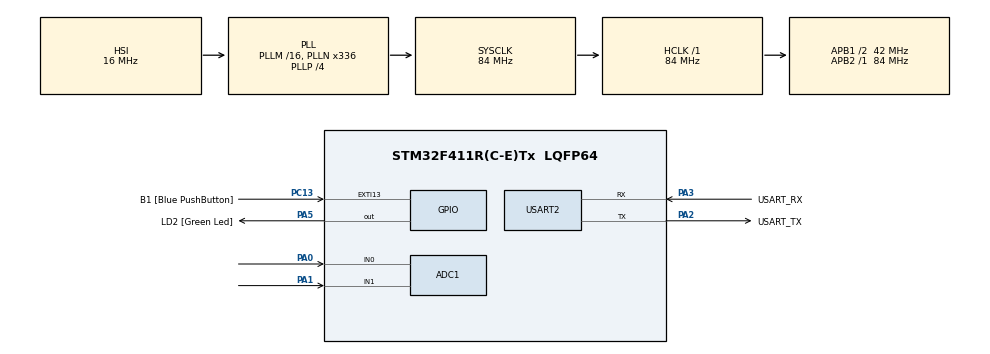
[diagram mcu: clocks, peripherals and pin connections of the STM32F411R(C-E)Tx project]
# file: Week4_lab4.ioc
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Mcu.Family=STM32F4
RCC.CortexFreq_Value=84000000
VP_ADC1_TempSens_Input.Mode=IN-TempSens
ADC1.ContinuousConvMode=ENABLE
PA14.GPIO_Label=TCK
RCC.SYSCLKSource=RCC_SYSCLKSOURCE_PLLCLK
ProjectManager.StackSize=0x400
PH0\ -\ OSC_IN.Signal=RCC_OSC_IN
ADC1.Channel-3\#ChannelRegularConversion=ADC_CHANNEL_VREFINT
RCC.HCLKFreq_Value=84000000
RCC.APB2TimFreq_Value=84000000
Dma.ADC1.0.Direction=DMA_PERIPH_TO_MEMORY
ADC1.Channel-2\#ChannelRegularConversion=ADC_CHANNEL_TEMPSENSOR
ADC1.InjNumberOfConversion=0
NVIC.DMA2_Stream0_IRQn=true\:0\:0\:false\:false\:true\:false\:true
Dma.ADC1.0.MemDataAlignment=DMA_MDATAALIGN_WORD
RCC.AHBFreq_Value=84000000
NVIC.EXTI15_10_IRQn=true\:0\:0\:false\:false\:true\:true\:true
ADC1.Channel-0\#ChannelRegularConversion=ADC_CHANNEL_0
RCC.HSE_VALUE=8000000
ADC1.ScanConvMode=ENABLE
PC13-ANTI_TAMP.Signal=GPXTI13
VP_ADC1_Vref_Input.Mode=IN-Vrefint
ADC1.Rank-2\#ChannelRegularConversion=3
PC14-OSC32_IN.Mode=LSE-External-Oscillator
PA14.Mode=Serial_Wire
Dma.ADC1.0.PeriphInc=DMA_PINC_DISABLE
SH.ADCx_IN0.0=ADC1_IN0,IN0
ADC1.SamplingTime-0\#ChannelRegularConversion=ADC_SAMPLETIME_480CYCLES
RCC.FLatency-AdvancedSettings=FLASH_LATENCY_2
Mcu.Package=LQFP64
USART2.VirtualMode=VM_ASYNC
PA2.GPIO_Label=USART_TX
SH.ADCx_IN1.0=ADC1_IN1,IN1
RCC.APB1TimFreq_Value=84000000
Dma.ADC1.0.FIFOMode=DMA_FIFOMODE_DISABLE
Dma.Request0=ADC1
PA3.Signal=USART2_RX
PB3.GPIO_Label=SWO
PC15-OSC32_OUT.Mode=LSE-External-Oscillator
Dma.ADC1.0.Instance=DMA2_Stream0
ADC1.Rank-0\#ChannelRegularConversion=1
PC13-ANTI_TAMP.GPIO_PuPd=GPIO_PULLUP
PC13-ANTI_TAMP.GPIO_Label=B1 [Blue PushButton]
PH1\ -\ OSC_OUT.Mode=HSE-External-Clock-Source
RCC.APB1CLKDivider=RCC_HCLK_DIV2
PC14-OSC32_IN.Signal=RCC_OSC32_IN
ADC1.SamplingTime-2\#ChannelRegularConversion=ADC_SAMPLETIME_480CYCLES
PA0-WKUP.Signal=ADCx_IN0
PA13.Signal=SYS_JTMS-SWDIO
PA3.Mode=Asynchronous
Dma.ADC1.0.PeriphDataAlignment=DMA_PDATAALIGN_WORD
PH0\ -\ OSC_IN.Mode=HSE-External-Clock-Source
ProjectManager.TargetToolchain=STM32CubeIDE
Dma.ADC1.0.Mode=DMA_CIRCULAR
Dma.ADC1.0.Priority=DMA_PRIORITY_LOW
ADC1.Channel-1\#ChannelRegularConversion=ADC_CHANNEL_1
PC15-OSC32_OUT.Signal=RCC_OSC32_OUT
PA1.Signal=ADCx_IN1
PA5.Signal=GPIO_Output
PH1\ -\ OSC_OUT.Signal=RCC_OSC_OUT
board=NUCLEO-F411RE
RCC.VCOOutputFreq_Value=336000000
RCC.APB2Freq_Value=84000000
ADC1.DMAContinuousRequests=ENABLE
ADC1.NbrOfConversion=4
PA13.Mode=Serial_Wire
Mcu.Name=STM32F411R(C-E)Tx
PA13.GPIO_Label=TMS
PA2.Signal=USART2_TX
RCC.48MHZClocksFreq_Value=84000000
PB3.Signal=SYS_JTDO-SWO
ADC1.SamplingTime-1\#ChannelRegularConversion=ADC_SAMPLETIME_480CYCLES
RCC.SYSCLKFreq_VALUE=84000000
ADC1.master=1
PA5.GPIO_Label=LD2 [Green Led]
ADC1.Rank-3\#ChannelRegularConversion=4
ADC1.SamplingTime-3\#ChannelRegularConversion=ADC_SAMPLETIME_480CYCLES
ADC1.Rank-1\#ChannelRegularConversion=2
PC13-ANTI_TAMP.GPIO_ModeDefaultEXTI=GPIO_MODE_IT_RISING_FALLING
PA14.Signal=SYS_JTCK-SWCLK
Dma.ADC1.0.MemInc=DMA_MINC_ENABLE
ProjectManager.HeapSize=0x200
RCC.HSI_VALUE=16000000
RCC.PLLP=RCC_PLLP_DIV4
NVIC.PriorityGroup=NVIC_PRIORITYGROUP_0
ADC1.NbrOfConversionFlag=1
RCC.PLLN=336
PA2.Mode=Asynchronous
RCC.APB1Freq_Value=42000000
PA3.GPIO_Label=USART_RX

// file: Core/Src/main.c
/* USER CODE BEGIN Header */
/**
 ******************************************************************************
 * @file           : main.c
 * @brief          : Main program body
 ******************************************************************************
 * @attention
 *
 * <h2><center>&copy; Copyright (c) 2021 STMicroelectronics.
 * All rights reserved.</center></h2>
 *
 * This software component is licensed by ST under BSD 3-Clause license,
 * the "License"; You may not use this file except in compliance with the
 * License. You may obtain a copy of the License at:
 *                        opensource.org/licenses/BSD-3-Clause
 *
 ******************************************************************************
 */
/* USER CODE END Header */
#include "main.h"

ADC_HandleTypeDef hadc1;
DMA_HandleTypeDef hdma_adc1;

UART_HandleTypeDef huart2;

/* USER CODE BEGIN PV */
uint32_t ADCData[4] = { 0 }; //ตัวรั�?�?�?อมูล�?า�?DMA
uint8_t interrupt = 0;
uint32_t TimeStampFailing = 0;
uint32_t TimeStampRising = 0;
uint32_t TimeStampLEDOn = 0;
uint8_t mode = 0;
uint32_t Response = 0;
uint8_t Get =0;
uint32_t Delay = 0;
uint32_t ButtonTimeStamp=0;
/* USER CODE END PV */

void SystemClock_Config(void);
static void MX_GPIO_Init(void);
static void MX_DMA_Init(void);
static void MX_USART2_UART_Init(void);
static void MX_ADC1_Init(void);

int main(void)
{

  /* MCU Configuration--------------------------------------------------------*/

  /* Reset of all peripherals, Initializes the Flash interface and the Systick. */

	HAL_Init();

  /* Configure the system clock */
  SystemClock_Config();

  /* Initialize all configured peripherals */
  MX_GPIO_Init();
  MX_DMA_Init();
  MX_USART2_UART_Init();
  MX_ADC1_Init();
  /* USER CODE BEGIN 2 */
	HAL_ADC_Start_DMA(&hadc1, ADCData, 4);
	HAL_GPIO_WritePin(LD2_GPIO_Port, LD2_Pin, SET);
  /* USER CODE END 2 */

  /* Infinite loop */
	while (1) {

    /* USER CODE BEGIN 3 */
		if (mode == 1 && Get == 0) {
			if (HAL_GetTick() - TimeStampFailing >= Delay)

			{
				HAL_GPIO_WritePin(LD2_GPIO_Port, LD2_Pin, SET);
				TimeStampLEDOn = HAL_GetTick();
				Get = 1;
			}
		}

	}
  /* USER CODE END 3 */
}

void SystemClock_Config(void)
{
  RCC_OscInitTypeDef RCC_OscInitStruct = {0};
  RCC_ClkInitTypeDef RCC_ClkInitStruct = {0};

  /** Configure the main internal regulator output voltage
  */
  __HAL_RCC_PWR_CLK_ENABLE();
  __HAL_PWR_VOLTAGESCALING_CONFIG(PWR_REGULATOR_VOLTAGE_SCALE1);
  /** Initializes the RCC Oscillators according to the specified parameters
  * in the RCC_OscInitTypeDef structure.
  */
  RCC_OscInitStruct.OscillatorType = RCC_OSCILLATORTYPE_HSI;
  RCC_OscInitStruct.HSIState = RCC_HSI_ON;
  RCC_OscInitStruct.HSICalibrationValue = RCC_HSICALIBRATION_DEFAULT;
  RCC_OscInitStruct.PLL.PLLState = RCC_PLL_ON;
  RCC_OscInitStruct.PLL.PLLSource = RCC_PLLSOURCE_HSI;
  RCC_OscInitStruct.PLL.PLLM = 16;
  RCC_OscInitStruct.PLL.PLLN = 336;
  RCC_OscInitStruct.PLL.PLLP = RCC_PLLP_DIV4;
  RCC_OscInitStruct.PLL.PLLQ = 4;
  if (HAL_RCC_OscConfig(&RCC_OscInitStruct) != HAL_OK)
  {
    Error_Handler();
  }
  /** Initializes the CPU, AHB and APB buses clocks
  */
  RCC_ClkInitStruct.ClockType = RCC_CLOCKTYPE_HCLK|RCC_CLOCKTYPE_SYSCLK
                              |RCC_CLOCKTYPE_PCLK1|RCC_CLOCKTYPE_PCLK2;
  RCC_ClkInitStruct.SYSCLKSource = RCC_SYSCLKSOURCE_PLLCLK;
  RCC_ClkInitStruct.AHBCLKDivider = RCC_SYSCLK_DIV1;
  RCC_ClkInitStruct.APB1CLKDivider = RCC_HCLK_DIV2;
  RCC_ClkInitStruct.APB2CLKDivider = RCC_HCLK_DIV1;

  if (HAL_RCC_ClockConfig(&RCC_ClkInitStruct, FLASH_LATENCY_2) != HAL_OK)
  {
    Error_Handler();
  }
}

static void MX_ADC1_Init(void)
{

  ADC_ChannelConfTypeDef sConfig = {0};

  /** Configure the global features of the ADC (Clock, Resolution, Data Alignment and number of conversion)
  */
  hadc1.Instance = ADC1;
  hadc1.Init.ClockPrescaler = ADC_CLOCK_SYNC_PCLK_DIV4;
  hadc1.Init.Resolution = ADC_RESOLUTION_12B;
  hadc1.Init.ScanConvMode = ENABLE;
  hadc1.Init.ContinuousConvMode = ENABLE;
  hadc1.Init.DiscontinuousConvMode = DISABLE;
  hadc1.Init.ExternalTrigConvEdge = ADC_EXTERNALTRIGCONVEDGE_NONE;
  hadc1.Init.ExternalTrigConv = ADC_SOFTWARE_START;
  hadc1.Init.DataAlign = ADC_DATAALIGN_RIGHT;
  hadc1.Init.NbrOfConversion = 4;
  hadc1.Init.DMAContinuousRequests = ENABLE;
  hadc1.Init.EOCSelection = ADC_EOC_SINGLE_CONV;
  if (HAL_ADC_Init(&hadc1) != HAL_OK)
  {
    Error_Handler();
  }
  /** Configure for the selected ADC regular channel its corresponding rank in the sequencer and its sample time.
  */
  sConfig.Channel = ADC_CHANNEL_0;
  sConfig.Rank = 1;
  sConfig.SamplingTime = ADC_SAMPLETIME_480CYCLES;
  if (HAL_ADC_ConfigChannel(&hadc1, &sConfig) != HAL_OK)
  {
    Error_Handler();
  }
  /** Configure for the selected ADC regular channel its corresponding rank in the sequencer and its sample time.
  */
  sConfig.Channel = ADC_CHANNEL_1;
  sConfig.Rank = 2;
  if (HAL_ADC_ConfigChannel(&hadc1, &sConfig) != HAL_OK)
  {
    Error_Handler();
  }
  /** Configure for the selected ADC regular channel its corresponding rank in the sequencer and its sample time.
  */
  sConfig.Channel = ADC_CHANNEL_TEMPSENSOR;
  sConfig.Rank = 3;
  if (HAL_ADC_ConfigChannel(&hadc1, &sConfig) != HAL_OK)
  {
    Error_Handler();
  }
  /** Configure for the selected ADC regular channel its corresponding rank in the sequencer and its sample time.
  */
  sConfig.Channel = ADC_CHANNEL_VREFINT;
  sConfig.Rank = 4;
  if (HAL_ADC_ConfigChannel(&hadc1, &sConfig) != HAL_OK)
  {
    Error_Handler();
  }

}

static void MX_USART2_UART_Init(void)
{

  huart2.Instance = USART2;
  huart2.Init.BaudRate = 115200;
  huart2.Init.WordLength = UART_WORDLENGTH_8B;
  huart2.Init.StopBits = UART_STOPBITS_1;
  huart2.Init.Parity = UART_PARITY_NONE;
  huart2.Init.Mode = UART_MODE_TX_RX;
  huart2.Init.HwFlowCtl = UART_HWCONTROL_NONE;
  huart2.Init.OverSampling = UART_OVERSAMPLING_16;
  if (HAL_UART_Init(&huart2) != HAL_OK)
  {
    Error_Handler();
  }

}

static void MX_DMA_Init(void)
{

  /* DMA controller clock enable */
  __HAL_RCC_DMA2_CLK_ENABLE();

  /* DMA interrupt init */
  /* DMA2_Stream0_IRQn interrupt configuration */
  HAL_NVIC_SetPriority(DMA2_Stream0_IRQn, 0, 0);
  HAL_NVIC_EnableIRQ(DMA2_Stream0_IRQn);

}

static void MX_GPIO_Init(void)
{
  GPIO_InitTypeDef GPIO_InitStruct = {0};

  /* GPIO Ports Clock Enable */
  __HAL_RCC_GPIOC_CLK_ENABLE();
  __HAL_RCC_GPIOH_CLK_ENABLE();
  __HAL_RCC_GPIOA_CLK_ENABLE();
  __HAL_RCC_GPIOB_CLK_ENABLE();

  /*Configure GPIO pin Output Level */
  HAL_GPIO_WritePin(LD2_GPIO_Port, LD2_Pin, GPIO_PIN_RESET);

  /*Configure GPIO pin : B1_Pin */
  GPIO_InitStruct.Pin = B1_Pin;
  GPIO_InitStruct.Mode = GPIO_MODE_IT_RISING_FALLING;
  GPIO_InitStruct.Pull = GPIO_PULLUP;
  HAL_GPIO_Init(B1_GPIO_Port, &GPIO_InitStruct);

  /*Configure GPIO pin : LD2_Pin */
  GPIO_InitStruct.Pin = LD2_Pin;
  GPIO_InitStruct.Mode = GPIO_MODE_OUTPUT_PP;
  GPIO_InitStruct.Pull = GPIO_NOPULL;
  GPIO_InitStruct.Speed = GPIO_SPEED_FREQ_LOW;
  HAL_GPIO_Init(LD2_GPIO_Port, &GPIO_InitStruct);

  /* EXTI interrupt init*/
  HAL_NVIC_SetPriority(EXTI15_10_IRQn, 0, 0);
  HAL_NVIC_EnableIRQ(EXTI15_10_IRQn);

}

/* USER CODE BEGIN 4 */

//�?ด�?เรีย�?อัต�?�?มัติเมื�?อถู�?interrupt
void HAL_GPIO_EXTI_Callback(uint16_t GPIO_Pin) {

	if (HAL_GetTick() - ButtonTimeStamp >= 100){
		ButtonTimeStamp = HAL_GetTick();
	if (GPIO_Pin == GPIO_PIN_13) {
		if (mode == 0) {
			HAL_GPIO_WritePin(LD2_GPIO_Port, LD2_Pin, RESET);
			TimeStampFailing = HAL_GetTick();
			Delay = 1000 +((22695477* ADCData[0]) +ADCData[1])% 10000;
			mode = 1;
		} else {
			TimeStampRising = HAL_GetTick();
			Response = TimeStampRising - TimeStampLEDOn;
			Get = 0;
			mode = 0;
		}
	}
}

}

/* USER CODE END 4 */

void Error_Handler(void)
{
	__disable_irq();
	while (1) {
	}
}

/************************ (C) COPYRIGHT STMicroelectronics *****END OF FILE****/
